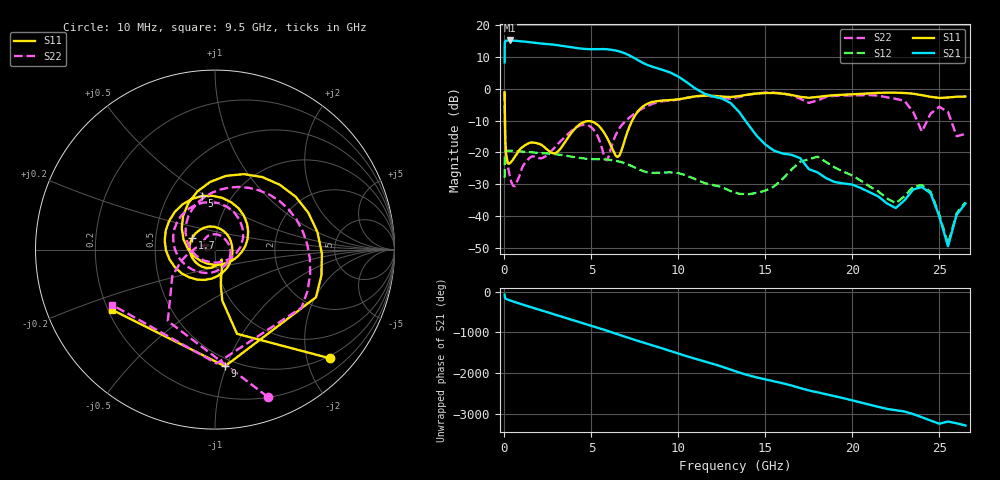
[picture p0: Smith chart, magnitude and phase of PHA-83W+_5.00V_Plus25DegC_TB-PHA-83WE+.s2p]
!Keysight Technologies,N5242A,MY48320684,A.10.49.08
!Date: Wednesday, August 21, 2019 10:23:46
!Correction: S11(Full 2 Port(1,2))
!S21(Full 2 Port(1,2))
!S12(Full 2 Port(1,2))
!S22(Full 2 Port(1,2))
!S2P File: Measurements: S11, S21, S12, S22:
# Hz S  dB  R 50
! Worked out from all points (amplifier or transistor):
!   130 points, 10 MHz to 26.5 GHz, reference 50 ohm
!   highest |S21| = 15.2 dB at 300 MHz (marker M1)
!   |S21| within 3 dB of that: 16.99 MHz to 6.224 GHz (6.207 GHz wide, 199 % of centre)
!   unconditionally stable (mu >= 1): start of sweep to end of sweep
!   at 1.3 GHz: K = 1.16, MAG = 14.9 dB, |S12| = -19.8 dB
!   at 5.7 GHz: K = 1.63, MAG = 12.7 dB, |S12| = -22.2 dB
!   at 26.5 GHz: K = 800.70, MAG = -32.2 dB, |S12| = -35.7 dB
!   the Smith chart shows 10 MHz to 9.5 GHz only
!   S11 on the Smith chart (normalised r, x): 10 MHz: 0.45, -2.44; 1.7 GHz: 0.77, +0.10; 5 GHz: 0.73, +0.48; 9 GHz: 0.44, -0.99; 9.5 GHz: 0.22, -0.26
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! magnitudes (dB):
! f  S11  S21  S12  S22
! 10 MHz  -1.1  8.3  -27.9  -1.2
! 20 MHz  -6.3  13.9  -21.3  -6.4
! 80 MHz  -19.6  15.1  -19.6  -19.7
! 300 MHz  -23.5  15.2  -19.4  -27.2
! 600 MHz  -21.3  15.1  -19.6  -30.6
! 1.7 GHz  -16.9  14.5  -20.0  -21.3
! 2.9 GHz  -20.3  13.8  -20.5  -18.4
! 4.5 GHz  -10.6  12.6  -21.9  -11.3
! 5 GHz  -10.3  12.5  -22.1  -12.1
! 5.9 GHz  -15.4  12.4  -22.2  -22.5
! 6.5 GHz  -21.4  11.9  -22.7  -13.4
! 7.6 GHz  -7.6  9.2  -25.0  -7.3
! 9 GHz  -3.7  6.1  -26.4  -4.0
! 9.5 GHz  -3.6  5.2  -26.3  -3.7
! 13.5 GHz  -2.3  -7.3  -33.0  -2.6
! 18 GHz  -2.6  -26.3  -21.3  -3.6
! 22.5 GHz  -1.2  -37.5  -36.0  -3.1
! 24 GHz  -2.0  -30.9  -30.2  -13.4
! 24.5 GHz  -2.5  -32.9  -32.4  -7.8
! 25.5 GHz  -2.7  -49.5  -48.8  -7.3
! 26 GHz  -2.5  -39.6  -39.1  -14.9
! 26.5 GHz  -2.4  -36.1  -35.7  -14.2
